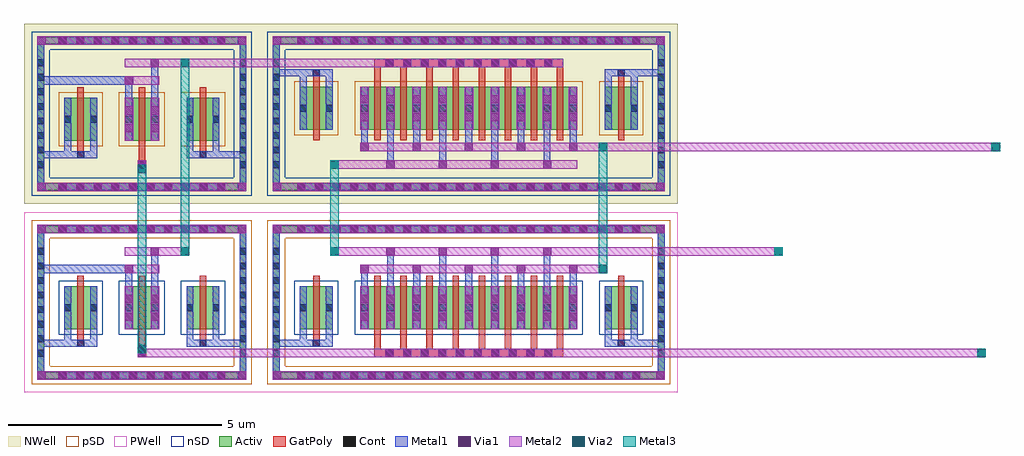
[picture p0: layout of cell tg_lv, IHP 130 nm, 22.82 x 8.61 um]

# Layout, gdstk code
import gdstk
lib = gdstk.Library(unit=1e-6, precision=1e-09)
def R(c, l, rs):  # rectangles x0, y0, x1, y1
    for r in rs: c.add(gdstk.rectangle(r[:2], r[2:], *l))
def A(c, l, x, y, w, h, nx, ny, dx, dy):  # array of equal rectangles
    R(c, l, [(x+i*dx, y+j*dy, x+i*dx+w, y+j*dy+h) for i in range(nx) for j in range(ny)])
def P(c, l, *ps):  # polygons
    for p in ps: c.add(gdstk.Polygon(p, *l))
Activ = (1, 0)
GatPoly = (5, 0)
Cont = (6, 0)
nSD = (7, 0)
Metal1 = (8, 0)
Metal2 = (10, 0)
pSD = (14, 0)
Via1 = (19, 0)
Via2 = (29, 0)
Metal3 = (30, 0)
NWell = (31, 0)
PWell = (46, 0)

tg_lv = lib.new_cell('tg_lv')
A(tg_lv, Activ, -9.579, -1.79, 0.16, 0.16, 10, 2, 0.412, 3.42)
A(tg_lv, Activ, -3.994, -1.79, 0.16, 0.16, 20, 2, 0.412, 3.42)
A(tg_lv, Activ, -10.09, -1.27, 0.16, 0.16, 1, 8, 0, 0.34)
A(tg_lv, Activ, -5.36, -1.27, 0.16, 0.16, 1, 8, 0, 0.34)
A(tg_lv, Activ, -4.58, -1.27, 0.16, 0.16, 1, 8, 0, 0.34)
A(tg_lv, Activ, 4.42, -1.27, 0.16, 0.16, 1, 8, 0, 0.34)
A(tg_lv, Activ, -9.579, 2.62, 0.16, 0.16, 10, 2, 0.412, 3.42)
A(tg_lv, Activ, -3.994, 2.62, 0.16, 0.16, 20, 2, 0.412, 3.42)
A(tg_lv, Activ, -10.09, 3.14, 0.16, 0.16, 1, 8, 0, 0.34)
A(tg_lv, Activ, -5.36, 3.14, 0.16, 0.16, 1, 8, 0, 0.34)
A(tg_lv, Activ, -4.58, 3.14, 0.16, 0.16, 1, 8, 0, 0.34)
A(tg_lv, Activ, 4.42, 3.14, 0.16, 0.16, 1, 8, 0, 0.34)
R(tg_lv, Activ, [(-9.579,-1.79,-5.711,-1.63), (-3.994,-1.79,3.994,-1.63), (-10.09,-1.27,-9.93,1.27), (-5.36,-1.27,-5.2,1.27), (-4.58,-1.27,-4.42,1.27), (4.42,-1.27,4.58,1.27), (-9.46,-0.63,-8.69,0.37), (-8.05,-0.63,-7.24,0.37), (-6.6,-0.63,-5.83,0.37), (-3.95,-0.63,-3.18,0.37), (-2.54,-0.63,2.54,0.37), (3.18,-0.63,3.95,0.37), (-9.579,1.63,-5.711,1.79), (-3.994,1.63,3.994,1.79), (-9.579,2.62,-5.711,2.78), (-3.994,2.62,3.994,2.78), (-10.09,3.14,-9.93,5.68), (-5.36,3.14,-5.2,5.68), (-4.58,3.14,-4.42,5.68), (4.42,3.14,4.58,5.68), (-9.46,3.78,-8.69,4.78), (-8.05,3.78,-7.24,4.78), (-6.6,3.78,-5.83,4.78), (-3.95,4.04,-3.18,5.04), (-2.54,4.04,2.54,5.04), (3.18,4.04,3.95,5.04), (-9.579,6.04,-5.711,6.2), (-3.994,6.04,3.994,6.2)])
P(tg_lv, Activ, [(4.58,1.79),(-4.58,1.79),(-4.58,-1.63),(-4.42,-1.63),(-4.42,1.63),(4.42,1.63),(4.42,-1.63),(-4.42,-1.63),(-4.58,-1.63),(-4.58,-1.79),(4.58,-1.79)],
  [(-5.2,1.79),(-10.09,1.79),(-10.09,-1.63),(-9.93,-1.63),(-9.93,1.63),(-5.36,1.63),(-5.36,-1.63),(-9.93,-1.63),(-10.09,-1.63),(-10.09,-1.79),(-5.2,-1.79)],
  [(-5.2,6.2),(-10.09,6.2),(-10.09,2.78),(-9.93,2.78),(-9.93,6.04),(-5.36,6.04),(-5.36,2.78),(-9.93,2.78),(-10.09,2.78),(-10.09,2.62),(-5.2,2.62)],
  [(4.58,2.62),(-4.58,2.62),(-4.58,6.04),(-4.42,6.04),(-4.42,2.78),(4.42,2.78),(4.42,6.04),(-4.42,6.04),(-4.58,6.04),(-4.58,6.2),(4.58,6.2)])
A(tg_lv, GatPoly, -1.934, -1.27, 0.16, 0.16, 10, 2, 0.412, 6.79)
A(tg_lv, GatPoly, -2.21, -1.09, 0.15, 0.21, 8, 2, 0.61, 6.38)
A(tg_lv, GatPoly, -9.15, -0.88, 0.15, 1.5, 3, 2, 1.43, 4.41)
A(tg_lv, GatPoly, -2.21, -0.88, 0.15, 1.5, 8, 2, 0.61, 4.67)
R(tg_lv, GatPoly, [(-7.745,-1.29,-7.545,-1.09), (-2.21,-1.29,2.21,-1.09), (-7.725,-1.27,-7.565,-1.11), (-7.72,-1.09,-7.57,-0.88), (-9.155,-1.04,-8.995,-0.88), (-9.155,-1.04,-8.995,-0.88), (-6.295,-1.04,-6.135,-0.88), (-6.295,-1.04,-6.135,-0.88), (-3.645,-1.04,-3.485,-0.88), (-3.645,-1.04,-3.485,-0.88), (3.485,-1.04,3.645,-0.88), (3.485,-1.04,3.645,-0.88), (-3.64,-0.88,-3.49,0.62), (3.49,-0.88,3.64,0.62), (-7.745,3.12,-7.545,3.32), (-7.725,3.14,-7.565,3.3), (-7.72,3.32,-7.57,3.53), (-9.155,3.37,-8.995,3.53), (-9.155,3.37,-8.995,3.53), (-6.295,3.37,-6.135,3.53), (-6.295,3.37,-6.135,3.53), (-3.64,3.79,-3.49,5.29), (3.49,3.79,3.64,5.29), (-3.645,5.29,-3.485,5.45), (-3.645,5.29,-3.485,5.45), (3.485,5.29,3.645,5.45), (3.485,5.29,3.645,5.45), (-2.21,5.5,2.21,5.7)])
A(tg_lv, Cont, -9.579, -1.79, 0.16, 0.16, 10, 2, 0.412, 3.42)
A(tg_lv, Cont, -3.994, -1.79, 0.16, 0.16, 20, 2, 0.412, 3.42)
A(tg_lv, Cont, -10.09, -1.27, 0.16, 0.16, 3, 2, 2.365, 4.41)
A(tg_lv, Cont, -4.58, -1.27, 0.16, 0.16, 1, 8, 0, 0.34)
A(tg_lv, Cont, -1.934, -1.27, 0.16, 0.16, 10, 2, 0.412, 6.79)
A(tg_lv, Cont, 4.42, -1.27, 0.16, 0.16, 1, 8, 0, 0.34)
A(tg_lv, Cont, -10.09, -0.93, 0.16, 0.16, 1, 7, 0, 0.34)
A(tg_lv, Cont, -5.36, -0.93, 0.16, 0.16, 1, 7, 0, 0.34)
A(tg_lv, Cont, -2.52, -0.21, 0.16, 0.16, 9, 2, 0.61, 4.67)
A(tg_lv, Cont, -9.579, 2.62, 0.16, 0.16, 10, 2, 0.412, 3.42)
A(tg_lv, Cont, -3.994, 2.62, 0.16, 0.16, 20, 2, 0.412, 3.42)
A(tg_lv, Cont, -4.58, 3.14, 0.16, 0.16, 1, 8, 0, 0.34)
A(tg_lv, Cont, 4.42, 3.14, 0.16, 0.16, 1, 8, 0, 0.34)
A(tg_lv, Cont, -10.09, 3.48, 0.16, 0.16, 1, 7, 0, 0.34)
A(tg_lv, Cont, -5.36, 3.48, 0.16, 0.16, 1, 7, 0, 0.34)
R(tg_lv, Cont, [(-9.155,-1.04,-8.995,-0.88), (-6.295,-1.04,-6.135,-0.88), (-3.645,-1.04,-3.485,-0.88), (3.485,-1.04,3.645,-0.88), (-9.46,-0.21,-9.3,-0.05), (-8.85,-0.21,-8.69,-0.05), (-8.03,-0.21,-7.87,-0.05), (-7.42,-0.21,-7.26,-0.05), (-6.6,-0.21,-6.44,-0.05), (-5.99,-0.21,-5.83,-0.05), (-3.95,-0.21,-3.79,-0.05), (-3.34,-0.21,-3.18,-0.05), (3.18,-0.21,3.34,-0.05), (3.79,-0.21,3.95,-0.05), (-9.155,3.37,-8.995,3.53), (-6.295,3.37,-6.135,3.53), (-9.46,4.2,-9.3,4.36), (-8.85,4.2,-8.69,4.36), (-8.03,4.2,-7.87,4.36), (-7.42,4.2,-7.26,4.36), (-6.6,4.2,-6.44,4.36), (-5.99,4.2,-5.83,4.36), (-3.95,4.46,-3.79,4.62), (-3.34,4.46,-3.18,4.62), (3.18,4.46,3.34,4.62), (3.79,4.46,3.95,4.62), (-3.645,5.29,-3.485,5.45), (3.485,5.29,3.645,5.45)])
R(tg_lv, nSD, [(-9.59,-0.76,-8.56,0.5), (-8.18,-0.76,-7.11,0.5), (-6.73,-0.76,-5.7,0.5), (-4.08,-0.76,-3.05,0.5), (-2.67,-0.76,2.67,0.5), (3.05,-0.76,4.08,0.5)])
P(tg_lv, nSD, [(-5.07,6.33),(-10.22,6.33),(-10.22,2.91),(-9.8,2.91),(-9.8,5.91),(-5.49,5.91),(-5.49,2.91),(-9.8,2.91),(-10.22,2.91),(-10.22,2.49),(-5.07,2.49)],
  [(4.71,2.49),(-4.71,2.49),(-4.71,5.91),(-4.29,5.91),(-4.29,2.91),(4.29,2.91),(4.29,5.91),(-4.29,5.91),(-4.71,5.91),(-4.71,6.33),(4.71,6.33)])
A(tg_lv, Metal1, -9.594, -1.805, 0.19, 0.19, 10, 2, 0.412, 3.42)
A(tg_lv, Metal1, -4.009, -1.805, 0.19, 0.19, 20, 2, 0.412, 3.42)
A(tg_lv, Metal1, -1.949, -1.285, 0.19, 0.19, 10, 2, 0.412, 6.79)
A(tg_lv, Metal1, -10.09, -1.27, 0.16, 0.16, 1, 8, 0, 0.34)
A(tg_lv, Metal1, -5.36, -1.27, 0.16, 0.16, 1, 8, 0, 0.34)
A(tg_lv, Metal1, -4.58, -1.27, 0.16, 0.16, 1, 8, 0, 0.34)
A(tg_lv, Metal1, 4.42, -1.27, 0.16, 0.16, 1, 8, 0, 0.34)
A(tg_lv, Metal1, -2.52, -0.63, 0.16, 1, 9, 2, 0.61, 4.67)
A(tg_lv, Metal1, -2.535, -0.431, 0.19, 0.19, 9, 2, 0.61, 0.412)
A(tg_lv, Metal1, -2.535, -0.431, 0.19, 0.602, 9, 2, 0.61, 4.67)
A(tg_lv, Metal1, -2.52, -0.21, 0.16, 0.16, 9, 2, 0.61, 4.67)
A(tg_lv, Metal1, -2.52, 0.37, 0.16, 0.505, 5, 2, 1.22, 3.165)
A(tg_lv, Metal1, -1.91, 0.37, 0.16, 0.915, 4, 2, 1.22, 2.755)
A(tg_lv, Metal1, -2.535, 0.685, 0.19, 0.19, 5, 2, 1.22, 2.85)
A(tg_lv, Metal1, -1.925, 1.095, 0.19, 0.19, 4, 2, 1.22, 2.03)
A(tg_lv, Metal1, -9.594, 2.605, 0.19, 0.19, 10, 2, 0.412, 3.42)
A(tg_lv, Metal1, -4.009, 2.605, 0.19, 0.19, 20, 2, 0.412, 3.42)
A(tg_lv, Metal1, -10.09, 3.14, 0.16, 0.16, 1, 8, 0, 0.34)
A(tg_lv, Metal1, -5.36, 3.14, 0.16, 0.16, 1, 8, 0, 0.34)
A(tg_lv, Metal1, -4.58, 3.14, 0.16, 0.16, 1, 8, 0, 0.34)
A(tg_lv, Metal1, 4.42, 3.14, 0.16, 0.16, 1, 8, 0, 0.34)
A(tg_lv, Metal1, -2.535, 4.239, 0.19, 0.19, 9, 2, 0.61, 0.412)
R(tg_lv, Metal1, [(-10.09,-1.81,-9.89,-1.61), (-10.09,-1.81,-9.93,-1.63), (-5.4,-1.81,-5.2,-1.61), (-5.36,-1.81,-5.2,-1.63), (-4.58,-1.81,-4.38,-1.61), (-4.58,-1.81,-4.42,-1.63), (4.38,-1.81,4.58,-1.61), (4.42,-1.81,4.58,-1.63), (-10.085,-1.805,-9.895,-1.615), (-9.594,-1.805,-5.696,-1.615), (-5.395,-1.805,-5.205,-1.615), (-4.575,-1.805,-4.385,-1.615), (-4.009,-1.805,4.009,-1.615), (4.385,-1.805,4.575,-1.615), (-10.09,-1.63,-9.93,1.63), (-5.36,-1.63,-5.2,1.63), (-4.58,-1.63,-4.42,1.63), (4.42,-1.63,4.58,1.63), (-7.74,-1.285,-7.55,-1.095), (-10.09,-1.04,-9.155,-0.88), (-9.46,-1.04,-9.155,-0.88), (-9.46,-1.04,-9.3,-0.63), (-9.155,-1.04,-8.995,-0.88), (-8.995,-1.04,-8.69,-0.88), (-8.85,-1.04,-8.69,-0.63), (-6.6,-1.04,-6.295,-0.88), (-6.6,-1.04,-6.44,-0.63), (-6.295,-1.04,-6.135,-0.88), (-6.295,-1.04,-5.2,-0.88), (-6.135,-1.04,-5.83,-0.88), (-5.99,-1.04,-5.83,-0.63), (-4.58,-1.04,-3.645,-0.88), (-3.95,-1.04,-3.645,-0.88), (-3.95,-1.04,-3.79,-0.63), (-3.645,-1.04,-3.485,-0.88), (-3.485,-1.04,-3.18,-0.88), (-3.34,-1.04,-3.18,-0.63), (3.18,-1.04,3.485,-0.88), (3.18,-1.04,3.34,-0.63), (3.485,-1.04,3.645,-0.88), (3.485,-1.04,4.58,-0.88), (3.645,-1.04,3.95,-0.88), (3.79,-1.04,3.95,-0.63), (-9.46,-0.63,-9.3,0.37), (-8.85,-0.63,-8.69,0.37), (-8.03,-0.63,-7.87,0.37), (-7.42,-0.63,-7.26,0.37), (-6.6,-0.63,-6.44,0.37), (-5.99,-0.63,-5.83,0.37), (-3.95,-0.63,-3.79,0.37), (-3.34,-0.63,-3.18,0.37), (3.18,-0.63,3.34,0.37), (3.79,-0.63,3.95,0.37), (-8.045,-0.431,-7.855,-0.241), (-8.045,-0.431,-7.855,0.171), (-7.435,-0.431,-7.245,-0.241), (-7.435,-0.431,-7.245,0.171), (-9.46,-0.21,-9.3,-0.05), (-8.85,-0.21,-8.69,-0.05), (-8.03,-0.21,-7.87,-0.05), (-7.42,-0.21,-7.26,-0.05), (-6.6,-0.21,-6.44,-0.05), (-5.99,-0.21,-5.83,-0.05), (-3.95,-0.21,-3.79,-0.05), (-3.34,-0.21,-3.18,-0.05), (3.18,-0.21,3.34,-0.05), (3.79,-0.21,3.95,-0.05), (-8.045,-0.019,-7.855,0.171), (-7.435,-0.019,-7.245,0.171), (-8.03,0.37,-7.87,0.875), (-7.42,0.37,-7.26,1.285), (-10.09,0.68,-8.05,0.88), (-8.05,0.68,-7.85,0.88), (-8.045,0.685,-7.855,0.875), (-8.045,0.685,-7.855,0.875), (-7.435,1.095,-7.245,1.285), (-10.09,1.61,-9.89,1.81), (-5.4,1.61,-5.2,1.81), (-4.58,1.61,-4.38,1.81), (4.38,1.61,4.58,1.81), (-10.085,1.615,-9.895,1.805), (-9.594,1.615,-5.696,1.805), (-5.395,1.615,-5.205,1.805), (-4.575,1.615,-4.385,1.805), (-4.009,1.615,4.009,1.805), (4.385,1.615,4.575,1.805), (-10.09,1.63,-9.93,1.81), (-5.36,1.63,-5.2,1.81), (-4.58,1.63,-4.42,1.81), (4.42,1.63,4.58,1.81), (-10.09,2.6,-9.89,2.8), (-10.09,2.6,-9.93,2.78), (-5.4,2.6,-5.2,2.8), (-5.36,2.6,-5.2,2.78), (-4.58,2.6,-4.38,2.8), (-4.58,2.6,-4.42,2.78), (4.38,2.6,4.58,2.8), (4.42,2.6,4.58,2.78), (-10.085,2.605,-9.895,2.795), (-9.594,2.605,-5.696,2.795), (-5.395,2.605,-5.205,2.795), (-4.575,2.605,-4.385,2.795), (-4.009,2.605,4.009,2.795), (4.385,2.605,4.575,2.795), (-10.09,2.78,-9.93,6.04), (-5.36,2.78,-5.2,6.04), (-4.58,2.78,-4.42,6.04), (4.42,2.78,4.58,6.04), (-7.74,3.125,-7.55,3.315), (-10.09,3.37,-9.155,3.53), (-9.46,3.37,-9.155,3.53), (-9.46,3.37,-9.3,3.78), (-9.155,3.37,-8.995,3.53), (-8.995,3.37,-8.69,3.53), (-8.85,3.37,-8.69,3.78), (-6.6,3.37,-6.295,3.53), (-6.6,3.37,-6.44,3.78), (-6.295,3.37,-6.135,3.53), (-6.295,3.37,-5.2,3.53), (-6.135,3.37,-5.83,3.53), (-5.99,3.37,-5.83,3.78), (-9.46,3.78,-9.3,4.78), (-8.85,3.78,-8.69,4.78), (-8.03,3.78,-7.87,4.78), (-7.42,3.78,-7.26,4.78), (-6.6,3.78,-6.44,4.78), (-5.99,3.78,-5.83,4.78), (-8.045,3.979,-7.855,4.169), (-8.045,3.979,-7.855,4.581), (-7.435,3.979,-7.245,4.169), (-7.435,3.979,-7.245,4.581), (-3.95,4.04,-3.79,5.04), (-3.34,4.04,-3.18,5.04), (3.18,4.04,3.34,5.04), (3.79,4.04,3.95,5.04), (-9.46,4.2,-9.3,4.36), (-8.85,4.2,-8.69,4.36), (-8.03,4.2,-7.87,4.36), (-7.42,4.2,-7.26,4.36), (-6.6,4.2,-6.44,4.36), (-5.99,4.2,-5.83,4.36), (-8.045,4.391,-7.855,4.581), (-7.435,4.391,-7.245,4.581), (-3.95,4.46,-3.79,4.62), (-3.34,4.46,-3.18,4.62), (3.18,4.46,3.34,4.62), (3.79,4.46,3.95,4.62), (-8.03,4.78,-7.87,5.285), (-7.42,4.78,-7.26,5.695), (-3.95,5.04,-3.79,5.45), (-3.34,5.04,-3.18,5.45), (3.18,5.04,3.34,5.45), (3.79,5.04,3.95,5.45), (-10.09,5.09,-8.05,5.29), (-8.05,5.09,-7.85,5.29), (-8.045,5.095,-7.855,5.285), (-8.045,5.095,-7.855,5.285), (-4.58,5.29,-3.645,5.45), (-3.95,5.29,-3.645,5.45), (-3.645,5.29,-3.485,5.45), (-3.485,5.29,-3.18,5.45), (3.18,5.29,3.485,5.45), (3.485,5.29,3.645,5.45), (3.485,5.29,4.58,5.45), (3.645,5.29,3.95,5.45), (-7.435,5.505,-7.245,5.695), (-10.09,6.02,-9.89,6.22), (-5.4,6.02,-5.2,6.22), (-4.58,6.02,-4.38,6.22), (4.38,6.02,4.58,6.22), (-10.085,6.025,-9.895,6.215), (-9.594,6.025,-5.696,6.215), (-5.395,6.025,-5.205,6.215), (-4.575,6.025,-4.385,6.215), (-4.009,6.025,4.009,6.215), (4.385,6.025,4.575,6.215), (-10.09,6.04,-9.93,6.22), (-5.36,6.04,-5.2,6.22), (-4.58,6.04,-4.42,6.22), (4.42,6.04,4.58,6.22)])
A(tg_lv, Metal2, -9.599, -1.81, 0.2, 0.2, 10, 2, 0.412, 3.42)
A(tg_lv, Metal2, -4.014, -1.81, 0.2, 0.2, 20, 2, 0.412, 3.42)
A(tg_lv, Metal2, -1.954, -1.29, 0.2, 0.2, 10, 2, 0.412, 6.79)
A(tg_lv, Metal2, -2.54, -0.63, 0.2, 1, 9, 2, 0.61, 4.67)
A(tg_lv, Metal2, -2.54, -0.436, 0.2, 0.2, 9, 2, 0.61, 0.412)
A(tg_lv, Metal2, -2.54, 0.68, 0.2, 0.2, 5, 2, 1.22, 2.85)
A(tg_lv, Metal2, -1.93, 1.09, 0.2, 0.2, 4, 2, 1.22, 2.03)
A(tg_lv, Metal2, -9.599, 2.6, 0.2, 0.2, 10, 2, 0.412, 3.42)
A(tg_lv, Metal2, -4.014, 2.6, 0.2, 0.2, 20, 2, 0.412, 3.42)
A(tg_lv, Metal2, -2.54, 4.234, 0.2, 0.2, 9, 2, 0.61, 0.412)
R(tg_lv, Metal2, [(-10.09,-1.81,-9.89,-1.61), (-10.09,-1.81,-9.89,-1.61), (-10.09,-1.81,-9.93,-1.61), (-9.93,-1.81,-5.36,-1.61), (-5.4,-1.81,-5.2,-1.61), (-5.4,-1.81,-5.2,-1.61), (-5.36,-1.81,-5.2,-1.61), (-4.58,-1.81,-4.38,-1.61), (-4.58,-1.81,-4.38,-1.61), (-4.58,-1.81,-4.42,-1.61), (-4.42,-1.81,4.42,-1.61), (4.38,-1.81,4.58,-1.61), (4.38,-1.81,4.58,-1.61), (4.42,-1.81,4.58,-1.61), (-7.745,-1.29,-7.545,-1.09), (-7.745,-1.29,-7.545,-1.09), (-7.745,-1.29,2.21,-1.09), (-2.21,-1.29,2.21,-1.09), (2.21,-1.29,12.09,-1.09), (11.89,-1.29,12.09,-1.09), (-7.745,-1.19,-7.545,-0.99), (-8.05,-0.63,-7.85,0.37), (-7.44,-0.63,-7.24,0.37), (-8.05,-0.436,-7.85,-0.236), (-7.44,-0.436,-7.24,-0.236), (-8.05,-0.024,-7.85,0.176), (-7.44,-0.024,-7.24,0.176), (-8.05,0.68,-7.85,0.88), (-8.05,0.68,-7.85,0.88), (-8.05,0.68,-7.24,0.88), (-2.54,0.68,2.54,0.88), (2.54,0.68,3.24,0.88), (3.04,0.68,3.24,0.88), (-8.05,1.09,-7.24,1.29), (-7.44,1.09,-7.24,1.29), (-7.24,1.09,-6.54,1.29), (-6.74,1.09,-6.54,1.29), (-3.24,1.09,-3.04,1.29), (-3.24,1.09,-2.54,1.29), (-2.54,1.09,2.54,1.29), (-2.54,1.09,7.34,1.29), (7.14,1.09,7.34,1.29), (-10.09,1.61,-9.89,1.81), (-10.09,1.61,-9.89,1.81), (-10.09,1.61,-9.93,1.81), (-9.93,1.61,-5.36,1.81), (-5.4,1.61,-5.2,1.81), (-5.4,1.61,-5.2,1.81), (-5.36,1.61,-5.2,1.81), (-4.58,1.61,-4.38,1.81), (-4.58,1.61,-4.38,1.81), (-4.58,1.61,-4.42,1.81), (-4.42,1.61,4.42,1.81), (4.38,1.61,4.58,1.81), (4.38,1.61,4.58,1.81), (4.42,1.61,4.58,1.81), (-10.09,2.6,-9.89,2.8), (-10.09,2.6,-9.89,2.8), (-10.09,2.6,-9.93,2.8), (-9.93,2.6,-5.36,2.8), (-5.4,2.6,-5.2,2.8), (-5.4,2.6,-5.2,2.8), (-5.36,2.6,-5.2,2.8), (-4.58,2.6,-4.38,2.8), (-4.58,2.6,-4.38,2.8), (-4.58,2.6,-4.42,2.8), (-4.42,2.6,4.42,2.8), (4.38,2.6,4.58,2.8), (4.38,2.6,4.58,2.8), (4.42,2.6,4.58,2.8), (-7.745,3.02,-7.545,3.22), (-7.745,3.12,-7.545,3.32), (-7.745,3.12,-7.545,3.32), (-3.24,3.12,-3.04,3.32), (-3.24,3.12,-2.54,3.32), (-2.54,3.12,2.54,3.32), (-2.54,3.53,2.54,3.73), (2.54,3.53,3.24,3.73), (2.54,3.53,12.22,3.73), (3.04,3.53,3.24,3.73), (12.22,3.53,12.42,3.73), (-8.05,3.78,-7.85,4.78), (-7.44,3.78,-7.24,4.78), (-8.05,3.974,-7.85,4.174), (-7.44,3.974,-7.24,4.174), (-8.05,4.386,-7.85,4.586), (-7.44,4.386,-7.24,4.586), (-8.05,5.09,-7.85,5.29), (-8.05,5.09,-7.85,5.29), (-8.05,5.09,-7.24,5.29), (-8.05,5.5,-2.21,5.7), (-8.05,5.5,-7.24,5.7), (-7.44,5.5,-7.24,5.7), (-7.24,5.5,-6.54,5.7), (-6.74,5.5,-6.54,5.7), (-2.21,5.5,2.21,5.7), (-10.09,6.02,-9.89,6.22), (-10.09,6.02,-9.89,6.22), (-10.09,6.02,-9.93,6.22), (-9.93,6.02,-5.36,6.22), (-5.4,6.02,-5.2,6.22), (-5.4,6.02,-5.2,6.22), (-5.36,6.02,-5.2,6.22), (-4.58,6.02,-4.38,6.22), (-4.58,6.02,-4.38,6.22), (-4.58,6.02,-4.42,6.22), (-4.42,6.02,4.42,6.22), (4.38,6.02,4.58,6.22), (4.38,6.02,4.58,6.22), (4.42,6.02,4.58,6.22)])
R(tg_lv, pSD, [(-9.59,3.65,-8.56,4.91), (-8.18,3.65,-7.11,4.91), (-6.73,3.65,-5.7,4.91), (-4.08,3.91,-3.05,5.17), (-2.67,3.91,2.67,5.17), (3.05,3.91,4.08,5.17)])
P(tg_lv, pSD, [(4.71,1.92),(-4.71,1.92),(-4.71,-1.5),(-4.29,-1.5),(-4.29,1.5),(4.29,1.5),(4.29,-1.5),(-4.29,-1.5),(-4.71,-1.5),(-4.71,-1.92),(4.71,-1.92)],
  [(-5.07,1.92),(-10.22,1.92),(-10.22,-1.5),(-9.8,-1.5),(-9.8,1.5),(-5.49,1.5),(-5.49,-1.5),(-9.8,-1.5),(-10.22,-1.5),(-10.22,-1.92),(-5.07,-1.92)])
A(tg_lv, Via1, -9.594, -1.805, 0.19, 0.19, 10, 2, 0.412, 3.42)
A(tg_lv, Via1, -4.009, -1.805, 0.19, 0.19, 20, 2, 0.412, 3.42)
A(tg_lv, Via1, -1.949, -1.285, 0.19, 0.19, 10, 2, 0.412, 6.79)
A(tg_lv, Via1, -2.535, -0.431, 0.19, 0.19, 9, 2, 0.61, 0.412)
A(tg_lv, Via1, -2.535, 0.685, 0.19, 0.19, 5, 2, 1.22, 2.85)
A(tg_lv, Via1, -1.925, 1.095, 0.19, 0.19, 4, 2, 1.22, 2.03)
A(tg_lv, Via1, -9.594, 2.605, 0.19, 0.19, 10, 2, 0.412, 3.42)
A(tg_lv, Via1, -4.009, 2.605, 0.19, 0.19, 20, 2, 0.412, 3.42)
A(tg_lv, Via1, -2.535, 4.239, 0.19, 0.19, 9, 2, 0.61, 0.412)
R(tg_lv, Via1, [(-10.085,-1.805,-9.895,-1.615), (-5.395,-1.805,-5.205,-1.615), (-4.575,-1.805,-4.385,-1.615), (4.385,-1.805,4.575,-1.615), (-7.74,-1.285,-7.55,-1.095), (-8.045,-0.431,-7.855,-0.241), (-7.435,-0.431,-7.245,-0.241), (-8.045,-0.019,-7.855,0.171), (-7.435,-0.019,-7.245,0.171), (-8.045,0.685,-7.855,0.875), (-8.045,0.685,-7.855,0.875), (-7.435,1.095,-7.245,1.285), (-10.085,1.615,-9.895,1.805), (-5.395,1.615,-5.205,1.805), (-4.575,1.615,-4.385,1.805), (4.385,1.615,4.575,1.805), (-10.085,2.605,-9.895,2.795), (-5.395,2.605,-5.205,2.795), (-4.575,2.605,-4.385,2.795), (4.385,2.605,4.575,2.795), (-7.74,3.125,-7.55,3.315), (-8.045,3.979,-7.855,4.169), (-7.435,3.979,-7.245,4.169), (-8.045,4.391,-7.855,4.581), (-7.435,4.391,-7.245,4.581), (-8.045,5.095,-7.855,5.285), (-8.045,5.095,-7.855,5.285), (-7.435,5.505,-7.245,5.695), (-10.085,6.025,-9.895,6.215), (-5.395,6.025,-5.205,6.215), (-4.575,6.025,-4.385,6.215), (4.385,6.025,4.575,6.215)])
R(tg_lv, Via2, [(11.895,-1.285,12.085,-1.095), (-7.74,-1.185,-7.55,-0.995), (3.045,0.685,3.235,0.875), (-6.735,1.095,-6.545,1.285), (-3.235,1.095,-3.045,1.285), (7.145,1.095,7.335,1.285), (-7.74,3.025,-7.55,3.215), (-3.235,3.125,-3.045,3.315), (3.045,3.535,3.235,3.725), (12.225,3.535,12.415,3.725), (-6.735,5.505,-6.545,5.695)])
R(tg_lv, Metal3, [(11.89,-1.29,12.09,-1.09), (-7.745,-1.19,-7.545,-0.99), (-7.745,-0.99,-7.545,3.02), (3.04,0.68,3.24,0.88), (3.04,0.68,3.24,0.88), (3.04,0.68,3.24,3.73), (-6.74,1.09,-6.54,1.29), (-6.74,1.09,-6.54,1.29), (-6.74,1.09,-6.54,5.7), (-3.24,1.09,-3.04,1.29), (-3.24,1.09,-3.04,1.29), (-3.24,1.09,-3.04,3.32), (7.14,1.09,7.34,1.29), (-7.745,3.02,-7.545,3.22), (-3.24,3.12,-3.04,3.32), (-3.24,3.12,-3.04,3.32), (3.04,3.53,3.24,3.73), (3.04,3.53,3.24,3.73), (12.22,3.53,12.42,3.73), (-6.74,5.5,-6.54,5.7), (-6.74,5.5,-6.54,5.7)])
P(tg_lv, Metal3, [(-6.54,1.09),(-6.54,1.09),(-6.54,1.29),(-6.54,1.29)],
  [(-6.54,5.5),(-6.54,5.5),(-6.54,5.7),(-6.54,5.7)],
  [(-3.04,1.09),(-3.04,1.09),(-3.04,1.29),(-3.04,1.29)],
  [(-3.04,3.12),(-3.04,3.12),(-3.04,3.32),(-3.04,3.32)],
  [(3.24,0.68),(3.24,0.68),(3.24,0.88),(3.24,0.88)],
  [(3.24,3.53),(3.24,3.53),(3.24,3.73),(3.24,3.73)])
R(tg_lv, NWell, [(-10.4,2.31,-4.89,6.51), (-4.89,2.31,4.89,6.51)])
R(tg_lv, PWell, [(-10.4,-2.1,-4.89,2.1), (-4.89,-2.1,4.89,2.1)])

lib.write_gds('tg_lv.gds')
